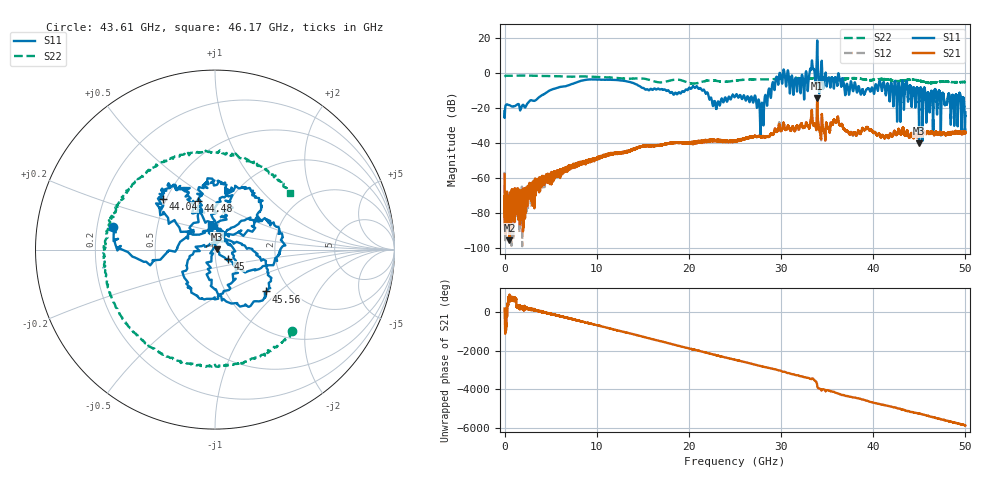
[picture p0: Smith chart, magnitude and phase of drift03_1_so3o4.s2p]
!Created with skrf (http://scikit-rf.org).
# Hz S RI R 50.0
!freq ReS11 ImS11 ReS21 ImS21 ReS12 ImS12 ReS22 ImS22
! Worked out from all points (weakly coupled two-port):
!   10001 points, 300 kHz to 50 GHz, reference 50 ohm
!   highest |S21| = -14.29 dB at 33.92 GHz (marker M1); lowest = -95.6 dB at 530.3 MHz (marker M2)
!   lowest |S11| = -40.2 dB at 44.98 GHz (marker M3), VSWR 1.02, Z = 51 + j0.087 ohm
!   |S11| at or under -10 dB: start of sweep to 4.849 GHz; 21.69 GHz to 28.63 GHz (6.933 GHz wide, 27.6 % of centre); 47.16 GHz to end of sweep (the widest 3 of 41)
!   |S22| runs from -5.9 to -1.3 dB; largest |S21 - S12| = 0.019
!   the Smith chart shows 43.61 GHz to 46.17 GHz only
!   S11 on the Smith chart (normalised r, x): 43.61 GHz: 0.27, +0.10; 44.04 GHz: 0.48, +0.32; 44.48 GHz: 0.72, +0.43; 45 GHz: 1.15, -0.12; 45.56 GHz: 1.53, -0.83; 46.17 GHz: 0.92, +0.25
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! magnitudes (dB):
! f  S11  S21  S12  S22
! 300 kHz  -21.7  -57.9  -56.5  -2.1
! 530.3 MHz  -18.3  -95.6  -75.0  -1.5
! 8.335 GHz  -4.3  -51.1  -51.1  -1.9
! 16.67 GHz  -8.8  -41.3  -41.4  -5.2
! 21.02 GHz  -8.8  -39.5  -39.4  -5.5
! 22.81 GHz  -16.1  -38.6  -38.7  -4.2
! 25 GHz  -13.4  -38.9  -38.8  -4.3
! 27.91 GHz  -17.1  -36.4  -36.4  -3.6
! 29.69 GHz  -6.5  -32.2  -31.8  -3.1
! 32.32 GHz  -1.5  -30.4  -30.7  -3.3
! 33.34 GHz  7.0  -21.0  -21.2  -3.0
! 33.92 GHz  18.7  -14.3  -14.5  -2.5
! 37.17 GHz  -6.2  -33.1  -33.1  -3.2
! 41.67 GHz  -9.0  -37.0  -36.8  -3.7
! 43.61 GHz  -4.7  -34.2  -34.0  -4.1
! 44.04 GHz  -7.9  -35.5  -35.6  -3.7
! 44.48 GHz  -10.8  -36.3  -36.0  -3.8
! 44.98 GHz  -40.2  -35.1  -34.6  -4.2
! 45 GHz  -21.1  -34.7  -34.3  -4.3
! 45.56 GHz  -8.7  -34.1  -33.9  -5.0
! 46.17 GHz  -17.5  -34.8  -34.5  -5.6
! 50 GHz  -22.4  -34.0  -34.1  -5.0
